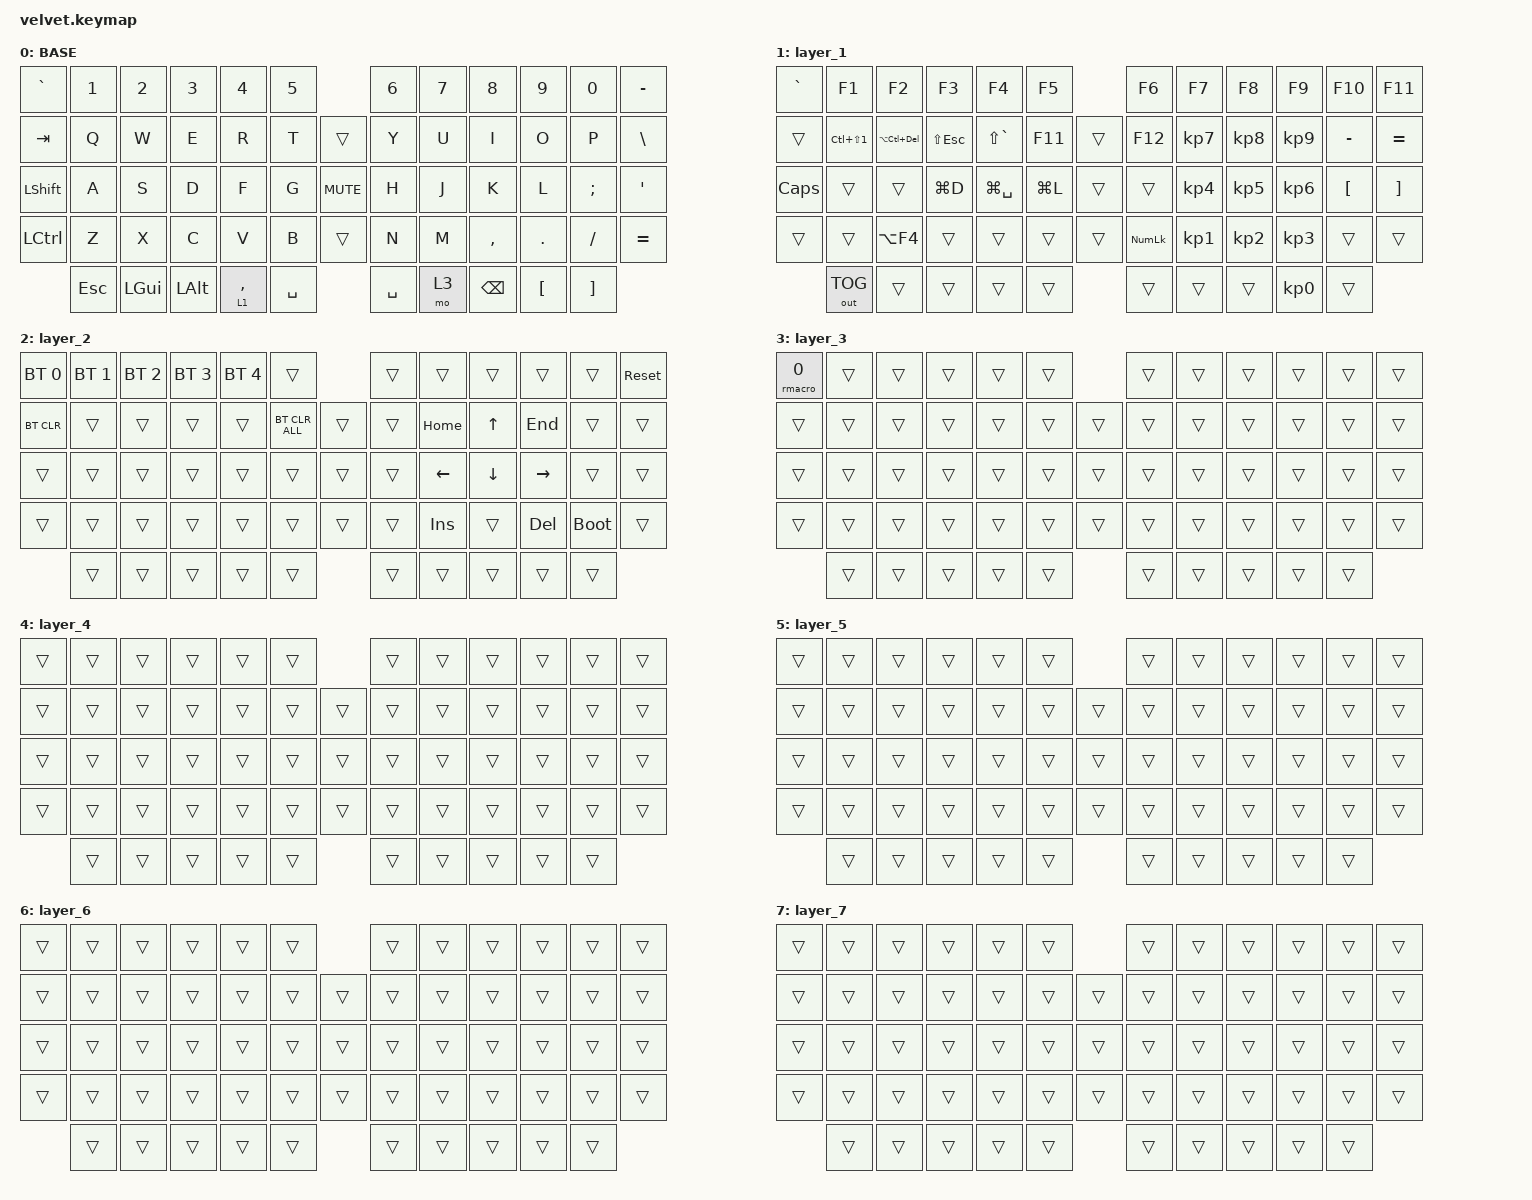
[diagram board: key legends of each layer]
#define BASE 0
#define LOWER 1

#include <behaviors/runtime_macro.dtsi>
#include <behaviors.dtsi>
#include <dt-bindings/zmk/bt.h>
#include <dt-bindings/zmk/keys.h>
#include <dt-bindings/zmk/outputs.h>

&lt {
    tapping-term-ms = <100>;
    flavor = "hold-preferred";
};

/ {
    behaviors {
        ltq: ltq {
            compatible = "zmk,behavior-hold-tap";
            label = "LTQ";
            bindings = <&mo>, <&kp>;

            #binding-cells = <2>;
            tapping-term-ms = <200>;
            quick-tap-ms = <180>;
        };
    };

    combos {
        compatible = "zmk,combos";

        flash {
            bindings = <&bootloader>;
            key-positions = <0 11>;
        };
    };

    keymap {
        compatible = "zmk,keymap";

        BASE {
            bindings = <
&kp GRAVE       &kp N1      &kp N2    &kp N3        &kp N4       &kp N5                 &kp NUMBER_6  &kp N7  &kp N8         &kp N9            &kp N0             &kp MINUS
&kp TAB         &kp Q       &kp W     &kp E         &kp R        &kp T      &trans   &kp Y         &kp U   &kp I          &kp O             &kp P              &kp BSLH
&kp LEFT_SHIFT  &kp A       &kp S     &kp D         &kp F        &kp G      &kp C_MUTE  &kp H         &kp J   &kp K          &kp L             &kp SEMI           &kp APOS
&kp LCTRL       &kp Z       &kp X     &kp C         &kp V        &kp B      &trans   &kp N         &kp M   &kp COMMA      &kp PERIOD        &kp SLASH          &kp EQUAL
                &kp ESCAPE  &kp LGUI  &kp LEFT_ALT  &lt 1 COMMA  &kp SPACE              &kp SPACE     &mo 3   &kp BACKSPACE  &kp LEFT_BRACKET  &kp RIGHT_BRACKET
            >;

            label = "BASE";
        };

        layer_1 {
            bindings = <
&kp GRAVE     &kp F1                &kp F2              &kp F3          &kp F4         &kp F5             &kp F6          &kp F7           &kp F8           &kp F9           &kp F10           &kp F11
&trans        &kp LC(LS(NUMBER_1))  &kp LA(LC(DELETE))  &kp LS(ESCAPE)  &kp LS(GRAVE)  &kp F11    &trans  &kp F12         &kp KP_NUMBER_7  &kp KP_N8        &kp KP_NUMBER_9  &kp MINUS         &kp EQUAL
&kp CAPSLOCK  &trans                &trans              &kp LG(D)       &kp LG(SPACE)  &kp LG(L)  &trans  &trans          &kp KP_NUMBER_4  &kp KP_N5        &kp KP_NUMBER_6  &kp LEFT_BRACKET  &kp RIGHT_BRACKET
&trans        &trans                &kp LA(F4)          &trans          &trans      &trans  &trans  &kp KP_NUMLOCK  &kp KP_NUMBER_1  &kp KP_NUMBER_2  &kp KP_NUMBER_3  &trans            &trans
              &out OUT_TOG          &trans              &trans          &trans         &trans             &trans          &trans           &trans           &kp KP_NUMBER_0  &trans
            >;
        };

        layer_2 {
            bindings = <
&bt BT_SEL 0  &bt BT_SEL 1  &bt BT_SEL 2  &bt BT_SEL 3  &bt BT_SEL 4  &trans                  &trans  &trans      &trans        &trans      &trans       &sys_reset
&bt BT_CLR    &trans        &trans        &trans        &trans        &bt BT_CLR_ALL  &trans  &trans  &kp HOME    &kp UP_ARROW  &kp END     &trans       &trans
&trans        &trans        &trans        &trans        &trans        &trans          &trans  &trans  &kp LEFT    &kp DOWN      &kp RIGHT   &trans       &trans
&trans        &trans        &trans        &trans        &trans        &trans          &trans  &trans  &kp INSERT  &trans        &kp DELETE  &bootloader  &trans
              &trans        &trans        &trans        &trans        &trans                  &trans  &trans      &trans        &trans      &trans
            >;
        };

        layer_3 {
            bindings = <
&rmacro 0  &trans  &trans  &trans  &trans  &trans          &trans  &trans  &trans  &trans  &trans  &trans
&trans     &trans  &trans  &trans  &trans  &trans  &trans  &trans  &trans  &trans  &trans  &trans  &trans
&trans     &trans  &trans  &trans  &trans  &trans  &trans  &trans  &trans  &trans  &trans  &trans  &trans
&trans     &trans  &trans  &trans  &trans  &trans  &trans  &trans  &trans  &trans  &trans  &trans  &trans
           &trans  &trans  &trans  &trans  &trans          &trans  &trans  &trans  &trans  &trans
            >;
        };

        layer_4 {
            bindings = <
&trans  &trans  &trans  &trans  &trans  &trans          &trans  &trans  &trans  &trans  &trans  &trans
&trans  &trans  &trans  &trans  &trans  &trans  &trans  &trans  &trans  &trans  &trans  &trans  &trans
&trans  &trans  &trans  &trans  &trans  &trans  &trans  &trans  &trans  &trans  &trans  &trans  &trans
&trans  &trans  &trans  &trans  &trans  &trans  &trans  &trans  &trans  &trans  &trans  &trans  &trans
        &trans  &trans  &trans  &trans  &trans          &trans  &trans  &trans  &trans  &trans
            >;
        };

        layer_5 {
            bindings = <
&trans  &trans  &trans  &trans  &trans  &trans          &trans  &trans  &trans  &trans  &trans  &trans
&trans  &trans  &trans  &trans  &trans  &trans  &trans  &trans  &trans  &trans  &trans  &trans  &trans
&trans  &trans  &trans  &trans  &trans  &trans  &trans  &trans  &trans  &trans  &trans  &trans  &trans
&trans  &trans  &trans  &trans  &trans  &trans  &trans  &trans  &trans  &trans  &trans  &trans  &trans
        &trans  &trans  &trans  &trans  &trans          &trans  &trans  &trans  &trans  &trans
            >;
        };

        layer_6 {
            bindings = <
&trans  &trans  &trans  &trans  &trans  &trans          &trans  &trans  &trans  &trans  &trans  &trans
&trans  &trans  &trans  &trans  &trans  &trans  &trans  &trans  &trans  &trans  &trans  &trans  &trans
&trans  &trans  &trans  &trans  &trans  &trans  &trans  &trans  &trans  &trans  &trans  &trans  &trans
&trans  &trans  &trans  &trans  &trans  &trans  &trans  &trans  &trans  &trans  &trans  &trans  &trans
        &trans  &trans  &trans  &trans  &trans          &trans  &trans  &trans  &trans  &trans
            >;
        };

        layer_7 {
            bindings = <
&trans  &trans  &trans  &trans  &trans  &trans          &trans  &trans  &trans  &trans  &trans  &trans
&trans  &trans  &trans  &trans  &trans  &trans  &trans  &trans  &trans  &trans  &trans  &trans  &trans
&trans  &trans  &trans  &trans  &trans  &trans  &trans  &trans  &trans  &trans  &trans  &trans  &trans
&trans  &trans  &trans  &trans  &trans  &trans  &trans  &trans  &trans  &trans  &trans  &trans  &trans
        &trans  &trans  &trans  &trans  &trans          &trans  &trans  &trans  &trans  &trans
            >;
        };
    };
};
